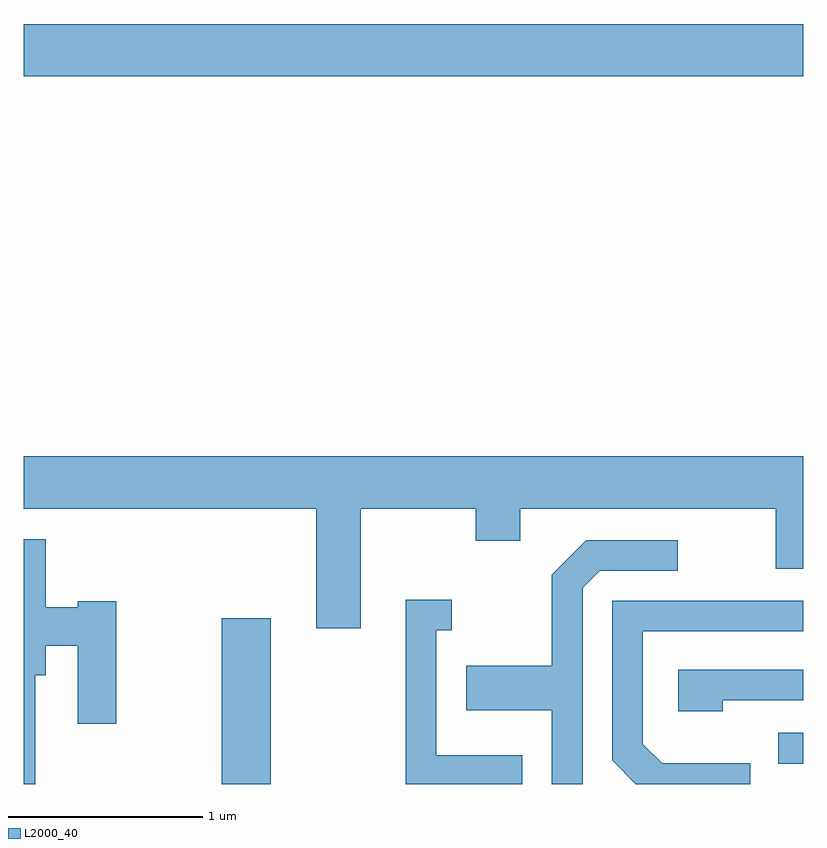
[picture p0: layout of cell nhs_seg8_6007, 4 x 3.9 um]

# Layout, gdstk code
import gdstk
lib = gdstk.Library(unit=1e-6, precision=1e-09)
def R(c, l, rs):  # rectangles x0, y0, x1, y1
    for r in rs: c.add(gdstk.rectangle(r[:2], r[2:], *l))
def P(c, l, *ps):  # polygons
    for p in ps: c.add(gdstk.Polygon(p, *l))
L2000_40 = (2000, 40)

nhs_seg8_6007 = lib.new_cell('nhs_seg8_6007')
R(nhs_seg8_6007, L2000_40, [(366.626,1828.342,366.879,1829.194), (369.483,1828.446,369.611,1828.604), (365.611,1831.976,369.611,1832.244)])
P(nhs_seg8_6007, L2000_40, [(367.339,1829.756),(367.931,1829.756),(367.931,1829.591),(368.159,1829.591),(368.159,1829.756),(369.471,1829.756),(369.471,1829.446),(369.611,1829.446),(369.611,1830.024),(365.611,1830.024),(365.611,1829.756),(367.111,1829.756),(367.111,1829.141),(367.339,1829.141)],
  [(365.669,1828.901),(365.724,1828.901),(365.724,1829.051),(365.886,1829.051),(365.886,1828.651),(366.084,1828.651),(366.084,1829.279),(365.886,1829.279),(365.886,1829.249),(365.724,1829.249),(365.724,1829.599),(365.611,1829.599),(365.611,1828.342),(365.669,1828.342)],
  [(368.479,1829.349),(368.567,1829.436),(368.968,1829.436),(368.968,1829.594),(368.499,1829.594),(368.321,1829.417),(368.321,1828.949),(367.881,1828.949),(367.881,1828.721),(368.321,1828.721),(368.321,1828.342),(368.479,1828.342)],
  [(368.169,1828.489),(367.729,1828.489),(367.729,1829.131),(367.808,1829.131),(367.808,1829.289),(367.571,1829.289),(367.571,1828.342),(368.169,1828.342)],
  [(369.339,1828.449),(368.887,1828.449),(368.789,1828.547),(368.789,1829.126),(369.611,1829.126),(369.611,1829.284),(368.631,1829.284),(368.631,1828.464),(368.753,1828.342),(369.339,1828.342)],
  [(369.199,1828.771),(369.611,1828.771),(369.611,1828.929),(368.971,1828.929),(368.971,1828.716),(369.199,1828.716)])

lib.write_gds('nhs_seg8_6007.gds')
